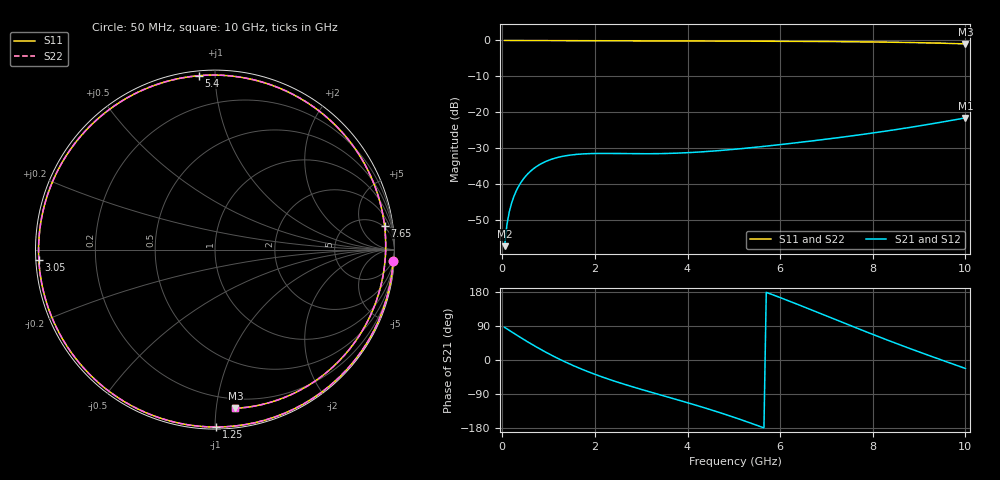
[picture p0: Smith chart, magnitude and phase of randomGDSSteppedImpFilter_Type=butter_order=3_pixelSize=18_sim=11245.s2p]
! freq	dB(S11)	phase(S11)	dB(S12)	phase(S12)
!  dB(S21)	phase(S21)	dB(S22)	phase(S22)
!S-par simulation data
#  GHz  S  DB  R 50
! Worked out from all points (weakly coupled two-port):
!   200 points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, 50 MHz to 10 GHz, reference 50 ohm
!   highest |S21| = -21.59 dB at 10 GHz (marker M1); lowest = -57.3 dB at 50 MHz (marker M2)
!   lowest |S11| = -1.0 dB at 10 GHz (marker M3), VSWR 17.44, Z = 6.55 - j56.4 ohm
!   |S11| at or under -10 dB: nowhere
!   |S22| runs from -1.0 to 0.0 dB; largest |S21 - S12| = 0
!   S11 on the Smith chart (normalised r, x): 50 MHz: 2, -30; 1.25 GHz: 0.01, -1.01; 3.05 GHz: 0.01, -0.03; 5.4 GHz: 0.02, +0.91; 7.65 GHz: 4, +13; 10 GHz: 0.13, -1.13
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0.05  -0.04 -3.8  -57.29 86.1  -57.29 86.1  -0.04 -3.8
0.1  -0.05 -7.8  -51.29 82.1  -51.29 82.1  -0.04 -7.8
0.15  -0.05 -11.7  -47.80 78.2  -47.80 78.2  -0.05 -11.7
0.25  -0.05 -19.5  -43.46 70.4  -43.46 70.4  -0.05 -19.5
0.4  -0.05 -31.0  -39.61 59.0  -39.61 59.0  -0.05 -31.0
0.8  -0.08 -60.2  -34.63 30.0  -34.63 30.0  -0.08 -60.2
1.25  -0.10 -89.6  -32.43 1.2  -32.43 1.2  -0.10 -89.7
1.75  -0.12 -118.0  -31.61 -25.9  -31.61 -25.9  -0.12 -118.1
2.4  -0.13 -149.4  -31.50 -54.9  -31.50 -54.9  -0.13 -149.5
3.05  -0.15 -176.7  -31.57 -79.3  -31.57 -79.3  -0.15 -176.8
3.4  -0.16 169.6  -31.53 -91.6  -31.53 -91.6  -0.16 169.6
4.15  -0.18 141.6  -31.17 -118.1  -31.17 -118.1  -0.18 141.5
4.6  -0.20 125.0  -30.78 -135.1  -30.78 -135.1  -0.20 124.9
5.05  -0.22 108.4  -30.28 -153.1  -30.28 -153.1  -0.22 108.3
5.4  -0.24 95.3  -29.85 -168.1  -29.85 -168.1  -0.24 95.2
6.05  -0.27 70.6  -28.96 162.4  -28.96 162.4  -0.27 70.5
6.7  -0.32 45.4  -27.98 131.1  -27.98 131.1  -0.32 45.2
7.2  -0.36 25.8  -27.18 106.5  -27.18 106.5  -0.36 25.6
7.65  -0.41 8.1  -26.42 84.4  -26.42 84.4  -0.41 7.9
8.35  -0.52 -19.3  -25.14 51.0  -25.14 51.0  -0.52 -19.4
9.2  -0.71 -51.9  -23.40 12.5  -23.40 12.5  -0.71 -52.0
10  -1.00 -82.7  -21.59 -22.3  -21.59 -22.3  -1.00 -82.7
